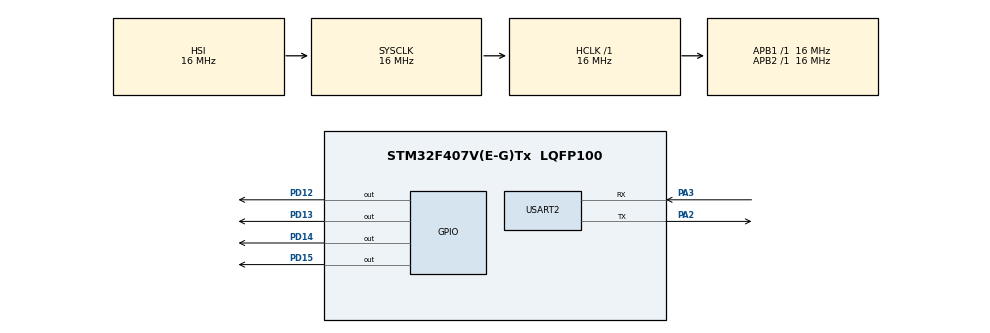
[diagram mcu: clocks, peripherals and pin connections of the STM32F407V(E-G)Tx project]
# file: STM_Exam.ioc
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Mcu.Family=STM32F4
Mcu.Name=STM32F407V(E-G)Tx
Mcu.Package=LQFP100
NVIC.PriorityGroup=NVIC_PRIORITYGROUP_4
NVIC.TIM4_IRQn=true\:0\:0\:false\:true\:true\:1\:true\:true\:true
NVIC.USART2_IRQn=true\:0\:0\:false\:true\:true\:2\:true\:true\:true
PA13.Mode=Serial_Wire
PA13.Signal=SYS_JTMS-SWDIO
PA14.Mode=Serial_Wire
PA14.Signal=SYS_JTCK-SWCLK
PA2.Mode=Asynchronous
PA2.Signal=USART2_TX
PA3.Mode=Asynchronous
PA3.Signal=USART2_RX
PD12.Signal=GPIO_Output
PD13.Signal=GPIO_Output
PD14.Signal=GPIO_Output
PD15.Signal=GPIO_Output
PH0-OSC_IN.Mode=HSE-External-Oscillator
PH0-OSC_IN.Signal=RCC_OSC_IN
PH1-OSC_OUT.Mode=HSE-External-Oscillator
PH1-OSC_OUT.Signal=RCC_OSC_OUT
ProjectManager.HeapSize=0x200
ProjectManager.StackSize=0x400
ProjectManager.TargetToolchain=STM32CubeIDE
RCC.AHBFreq_Value=16000000
RCC.APB1Freq_Value=16000000
RCC.APB2Freq_Value=16000000
RCC.CortexFreq_Value=16000000
RCC.HSE_VALUE=25000000
RCC.HSI_VALUE=16000000
RCC.LSE_VALUE=32768
RCC.SYSCLKFreq_VALUE=16000000
RCC.VCOOutputFreq_Value=192000000
TIM4.Period=500-1
TIM4.Prescaler=16000-1
USART2.VirtualMode=VM_ASYNC
VP_TIM4_VS_ClockSourceINT.Mode=Internal
board=custom

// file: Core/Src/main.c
/* USER CODE BEGIN Header */
/**
  ******************************************************************************
  * @file           : main.c
  * @brief          : Main program body
  ******************************************************************************
  * @attention
  *
  * Copyright (c) 2024 STMicroelectronics.
  * All rights reserved.
  *
  * This software is licensed under terms that can be found in the LICENSE file
  * in the root directory of this software component.
  * If no LICENSE file comes with this software, it is provided AS-IS.
  *
  ******************************************************************************
  */
/* USER CODE END Header */
#include "main.h"

TIM_HandleTypeDef htim4;

UART_HandleTypeDef huart2;

void SystemClock_Config(void);
static void MX_GPIO_Init(void);
static void MX_TIM4_Init(void);
static void MX_USART2_UART_Init(void);
static void MX_NVIC_Init(void);

/* USER CODE BEGIN 0 */
uint8_t rxData;
int flag = 0;
uint8_t data_buffer[9] = {0};
uint32_t randomNum1;
uint32_t randomNum2;
uint32_t randomLED;
/* USER CODE END 0 */

int main(void)
{

  /* MCU Configuration--------------------------------------------------------*/

  /* Reset of all peripherals, Initializes the Flash interface and the Systick. */
  HAL_Init();

  /* Configure the system clock */
  SystemClock_Config();

  /* Initialize all configured peripherals */
  MX_GPIO_Init();
  MX_TIM4_Init();
  MX_USART2_UART_Init();

  /* Initialize interrupts */
  MX_NVIC_Init();
  /* USER CODE BEGIN 2 */
  HAL_TIM_Base_Start_IT(&htim4);
  srand(HAL_GetTick());
  HAL_UART_Receive_IT(&huart2, &rxData, 1); // 초기 ?��?�� ?��?��
  /* USER CODE END 2 */

  /* Infinite loop */
  /* USER CODE BEGIN WHILE */
  while (1)
  {
	  while(flag != 0){
		  data_buffer[0] = 0xf5;
		  data_buffer[1] = (randomNum1 >> 24)& 0xff;
		  data_buffer[2] = (randomNum1 >> 16) & 0xff;
		  data_buffer[3] = (randomNum1 >> 8) & 0xff;
		  data_buffer[4] = randomNum1 & 0xff;
		  data_buffer[5] = (randomNum2 >> 24) & 0xff;
		  data_buffer[6] = (randomNum2 >> 16) & 0xff;
		  data_buffer[7] = (randomNum2 >> 8) & 0xff;
		  data_buffer[8] = randomNum2 & 0xff;

		  HAL_UART_Transmit(&huart2, data_buffer, 9, HAL_MAX_DELAY);
		  flag = 0;
	  }
    /* USER CODE END WHILE */

  }
}

void SystemClock_Config(void)
{
  RCC_OscInitTypeDef RCC_OscInitStruct = {0};
  RCC_ClkInitTypeDef RCC_ClkInitStruct = {0};

  /** Configure the main internal regulator output voltage
  */
  __HAL_RCC_PWR_CLK_ENABLE();
  __HAL_PWR_VOLTAGESCALING_CONFIG(PWR_REGULATOR_VOLTAGE_SCALE1);

  /** Initializes the RCC Oscillators according to the specified parameters
  * in the RCC_OscInitTypeDef structure.
  */
  RCC_OscInitStruct.OscillatorType = RCC_OSCILLATORTYPE_HSI;
  RCC_OscInitStruct.HSIState = RCC_HSI_ON;
  RCC_OscInitStruct.HSICalibrationValue = RCC_HSICALIBRATION_DEFAULT;
  RCC_OscInitStruct.PLL.PLLState = RCC_PLL_NONE;
  if (HAL_RCC_OscConfig(&RCC_OscInitStruct) != HAL_OK)
  {
    Error_Handler();
  }

  /** Initializes the CPU, AHB and APB buses clocks
  */
  RCC_ClkInitStruct.ClockType = RCC_CLOCKTYPE_HCLK|RCC_CLOCKTYPE_SYSCLK
                              |RCC_CLOCKTYPE_PCLK1|RCC_CLOCKTYPE_PCLK2;
  RCC_ClkInitStruct.SYSCLKSource = RCC_SYSCLKSOURCE_HSI;
  RCC_ClkInitStruct.AHBCLKDivider = RCC_SYSCLK_DIV1;
  RCC_ClkInitStruct.APB1CLKDivider = RCC_HCLK_DIV1;
  RCC_ClkInitStruct.APB2CLKDivider = RCC_HCLK_DIV1;

  if (HAL_RCC_ClockConfig(&RCC_ClkInitStruct, FLASH_LATENCY_0) != HAL_OK)
  {
    Error_Handler();
  }
}

/**
  * @brief NVIC Configuration.
  * @retval None
  */
static void MX_NVIC_Init(void)
{
  /* TIM4_IRQn interrupt configuration */
  HAL_NVIC_SetPriority(TIM4_IRQn, 0, 0);
  HAL_NVIC_EnableIRQ(TIM4_IRQn);
  /* USART2_IRQn interrupt configuration */
  HAL_NVIC_SetPriority(USART2_IRQn, 0, 0);
  HAL_NVIC_EnableIRQ(USART2_IRQn);
}

static void MX_TIM4_Init(void)
{

  TIM_ClockConfigTypeDef sClockSourceConfig = {0};
  TIM_MasterConfigTypeDef sMasterConfig = {0};

  htim4.Instance = TIM4;
  htim4.Init.Prescaler = 16000-1;
  htim4.Init.CounterMode = TIM_COUNTERMODE_UP;
  htim4.Init.Period = 500-1;
  htim4.Init.ClockDivision = TIM_CLOCKDIVISION_DIV1;
  htim4.Init.AutoReloadPreload = TIM_AUTORELOAD_PRELOAD_DISABLE;
  if (HAL_TIM_Base_Init(&htim4) != HAL_OK)
  {
    Error_Handler();
  }
  sClockSourceConfig.ClockSource = TIM_CLOCKSOURCE_INTERNAL;
  if (HAL_TIM_ConfigClockSource(&htim4, &sClockSourceConfig) != HAL_OK)
  {
    Error_Handler();
  }
  sMasterConfig.MasterOutputTrigger = TIM_TRGO_RESET;
  sMasterConfig.MasterSlaveMode = TIM_MASTERSLAVEMODE_DISABLE;
  if (HAL_TIMEx_MasterConfigSynchronization(&htim4, &sMasterConfig) != HAL_OK)
  {
    Error_Handler();
  }

}

static void MX_USART2_UART_Init(void)
{

  huart2.Instance = USART2;
  huart2.Init.BaudRate = 115200;
  huart2.Init.WordLength = UART_WORDLENGTH_8B;
  huart2.Init.StopBits = UART_STOPBITS_1;
  huart2.Init.Parity = UART_PARITY_NONE;
  huart2.Init.Mode = UART_MODE_TX_RX;
  huart2.Init.HwFlowCtl = UART_HWCONTROL_NONE;
  huart2.Init.OverSampling = UART_OVERSAMPLING_16;
  if (HAL_UART_Init(&huart2) != HAL_OK)
  {
    Error_Handler();
  }

}

static void MX_GPIO_Init(void)
{
  GPIO_InitTypeDef GPIO_InitStruct = {0};

  /* GPIO Ports Clock Enable */
  __HAL_RCC_GPIOH_CLK_ENABLE();
  __HAL_RCC_GPIOA_CLK_ENABLE();
  __HAL_RCC_GPIOD_CLK_ENABLE();

  /*Configure GPIO pin Output Level */
  HAL_GPIO_WritePin(GPIOD, GPIO_PIN_12|GPIO_PIN_13|GPIO_PIN_14|GPIO_PIN_15, GPIO_PIN_RESET);

  /*Configure GPIO pins : PD12 PD13 PD14 PD15 */
  GPIO_InitStruct.Pin = GPIO_PIN_12|GPIO_PIN_13|GPIO_PIN_14|GPIO_PIN_15;
  GPIO_InitStruct.Mode = GPIO_MODE_OUTPUT_PP;
  GPIO_InitStruct.Pull = GPIO_NOPULL;
  GPIO_InitStruct.Speed = GPIO_SPEED_FREQ_LOW;
  HAL_GPIO_Init(GPIOD, &GPIO_InitStruct);

}

/* USER CODE BEGIN 4 */
void HAL_TIM_PeriodElapsedCallback(TIM_HandleTypeDef *htim)
{
	if (htim == &htim4){
		HAL_GPIO_TogglePin(GPIOD, GPIO_PIN_12);
		flag = 1;
		randomNum1 = (rand() % 100);
		randomNum2 = (rand() % 500);
	}
}

void HAL_UART_RxCpltCallback(UART_HandleTypeDef *huart)
{
  if (huart->Instance == USART2)
  {
	randomLED = (rand() % 3);
	uint16_t pinMap[3] =
	{GPIO_PIN_13, GPIO_PIN_14, GPIO_PIN_15};
    if (rxData == '1')
    {
      HAL_GPIO_WritePin(GPIOD, pinMap[randomLED], GPIO_PIN_SET);
    }
    else if (rxData == '0')
    {
      HAL_GPIO_WritePin(GPIOD, GPIO_PIN_13 | GPIO_PIN_14 | GPIO_PIN_15, GPIO_PIN_RESET);
    }
    HAL_UART_Receive_IT(&huart2, &rxData, 1);
  }
}
/* USER CODE END 4 */

void Error_Handler(void)
{
  __disable_irq();
  while (1)
  {
  }
}
